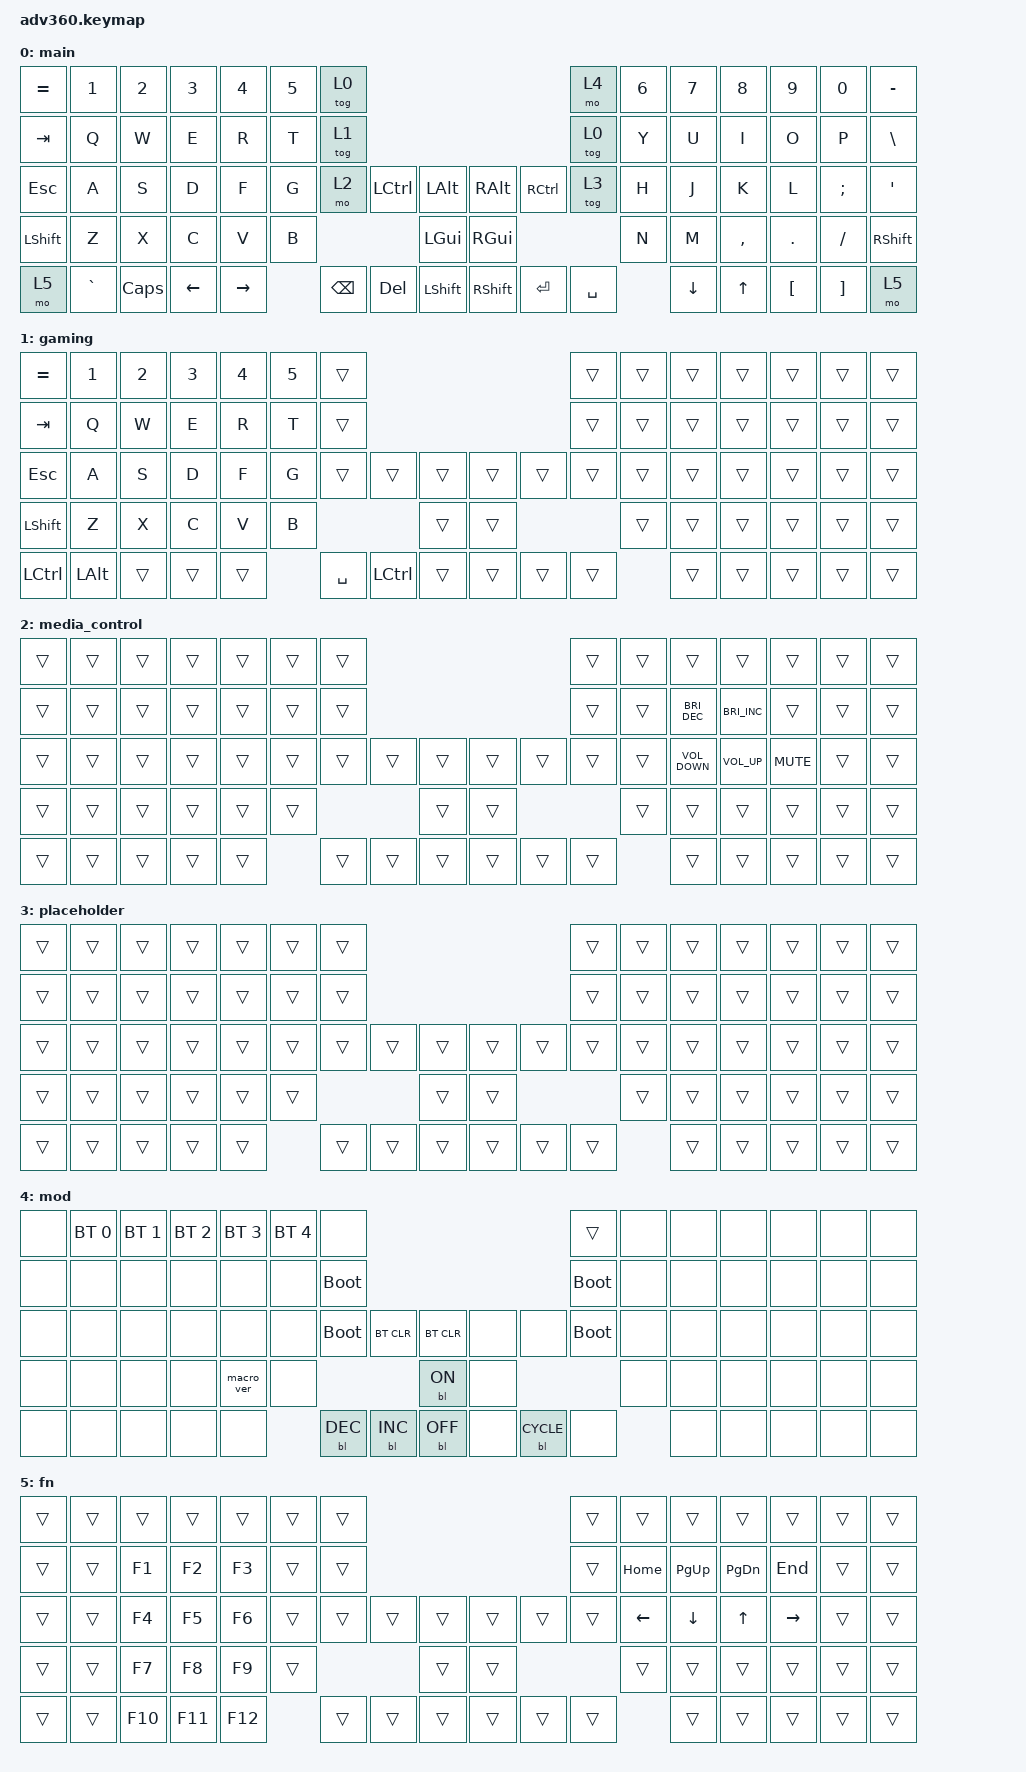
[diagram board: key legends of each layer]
#include <behaviors.dtsi>
#include <dt-bindings/zmk/backlight.h>
#include <dt-bindings/zmk/bt.h>
#include <dt-bindings/zmk/keys.h>

/ {
    behaviors {
        #include "macros.dtsi"
      #include "version.dtsi"
      #ifndef VERSION_MACRO

        macro_ver: macro_ver {
            compatible = "zmk,behavior-macro";
            label = "macro_version";
            #binding-cells = <0>;
            bindings = <&kp RET>;
        };

        #endif

        hm: homerow_mods {
            compatible = "zmk,behavior-hold-tap";
            label = "HOMEROW_MODS";
            #binding-cells = <2>;
            tapping-term-ms = <200>;
            quick_tap_ms = <175>;
            flavor = "tap-preferred";
            bindings = <&kp>, <&kp>;
        };
    };

    macros {
    };

    keymap {
        compatible = "zmk,keymap";

        main {
            bindings = <
&kp EQUAL       &kp N1     &kp N2    &kp N3    &kp N4     &kp N5  &tog 0                                                                              &mo 4      &kp N6  &kp N7    &kp N8     &kp N9    &kp N0    &kp MINUS
&kp TAB         &kp Q      &kp W     &kp E     &kp R      &kp T   &tog 1                                                                              &tog 0     &kp Y   &kp U     &kp I      &kp O     &kp P     &kp BSLH
&kp ESC         &kp A      &kp S     &kp D     &kp F      &kp G   &mo 2     &kp LEFT_CONTROL  &kp LALT            &kp RIGHT_ALT    &kp RIGHT_CONTROL  &tog 3     &kp H   &kp J     &kp K      &kp L     &kp SEMI  &kp SQT
&kp LEFT_SHIFT  &kp Z      &kp X     &kp C     &kp V      &kp B                               &kp LEFT_GUI        &kp RGUI                                       &kp N   &kp M     &kp COMMA  &kp DOT   &kp FSLH  &kp RIGHT_SHIFT
&mo 5           &kp GRAVE  &kp CAPS  &kp LEFT  &kp RIGHT          &kp BSPC  &kp DEL           &kp LEFT_SHIFT      &kp RIGHT_SHIFT  &kp ENTER          &kp SPACE          &kp DOWN  &kp UP     &kp LBKT  &kp RBKT  &mo 5
            >;
        };

        gaming {
            bindings = <
&kp EQUAL  &kp N1    &kp N2  &kp N3  &kp N4  &kp N5  &trans                                            &trans  &trans  &trans  &trans  &trans  &trans  &trans
&kp TAB    &kp Q     &kp W   &kp E   &kp R   &kp T   &trans                                            &trans  &trans  &trans  &trans  &trans  &trans  &trans
&kp ESC    &kp A     &kp S   &kp D   &kp F   &kp G   &trans     &trans     &trans      &trans  &trans  &trans  &trans  &trans  &trans  &trans  &trans  &trans
&kp LSHFT  &kp Z     &kp X   &kp C   &kp V   &kp B                         &trans      &trans                  &trans  &trans  &trans  &trans  &trans  &trans
&kp LCTRL  &kp LALT  &trans  &trans  &trans          &kp SPACE  &kp LCTRL  &trans      &trans  &trans  &trans          &trans  &trans  &trans  &trans  &trans
            >;
        };

        media_control {
            bindings = <
&trans  &trans  &trans  &trans  &trans  &trans  &trans                                      &trans  &trans  &trans                &trans                &trans      &trans  &trans
&trans  &trans  &trans  &trans  &trans  &trans  &trans                                      &trans  &trans  &kp C_BRIGHTNESS_DEC  &kp C_BRIGHTNESS_INC  &trans      &trans  &trans
&trans  &trans  &trans  &trans  &trans  &trans  &trans  &trans  &trans      &trans  &trans  &trans  &trans  &kp C_VOLUME_DOWN     &kp C_VOLUME_UP       &kp K_MUTE  &trans  &trans
&trans  &trans  &trans  &trans  &trans  &trans                  &trans      &trans                  &trans  &trans                &trans                &trans      &trans  &trans
&trans  &trans  &trans  &trans  &trans          &trans  &trans  &trans      &trans  &trans  &trans          &trans                &trans                &trans      &trans  &trans
            >;
        };

        placeholder {
            bindings = <
&trans  &trans  &trans  &trans  &trans  &trans  &trans                                      &trans  &trans  &trans  &trans  &trans  &trans  &trans
&trans  &trans  &trans  &trans  &trans  &trans  &trans                                      &trans  &trans  &trans  &trans  &trans  &trans  &trans
&trans  &trans  &trans  &trans  &trans  &trans  &trans  &trans  &trans      &trans  &trans  &trans  &trans  &trans  &trans  &trans  &trans  &trans
&trans  &trans  &trans  &trans  &trans  &trans                  &trans      &trans                  &trans  &trans  &trans  &trans  &trans  &trans
&trans  &trans  &trans  &trans  &trans          &trans  &trans  &trans      &trans  &trans  &trans          &trans  &trans  &trans  &trans  &trans
            >;
        };

        mod {
            bindings = <
&none  &bt BT_SEL 0  &bt BT_SEL 1  &bt BT_SEL 2  &bt BT_SEL 3  &bt BT_SEL 4  &none                                                         &trans       &none  &none  &none  &none  &none  &none
&none  &none         &none         &none         &none         &none         &bootloader                                                   &bootloader  &none  &none  &none  &none  &none  &none
&none  &none         &none         &none         &none         &none         &bootloader  &bt BT_CLR  &bt BT_CLR      &none  &none         &bootloader  &none  &none  &none  &none  &none  &none
&none  &none         &none         &none         &macro_ver    &none                                  &bl BL_ON       &none                             &none  &none  &none  &none  &none  &none
&none  &none         &none         &none         &none                       &bl BL_DEC   &bl BL_INC  &bl BL_OFF      &none  &bl BL_CYCLE  &none               &none  &none  &none  &none  &none
            >;
        };

        fn {
            bindings = <
&trans  &trans  &trans   &trans   &trans   &trans  &trans                                      &trans  &trans          &trans       &trans         &trans     &trans  &trans
&trans  &trans  &kp F1   &kp F2   &kp F3   &trans  &trans                                      &trans  &kp HOME        &kp PAGE_UP  &kp PAGE_DOWN  &kp END    &trans  &trans
&trans  &trans  &kp F4   &kp F5   &kp F6   &trans  &trans  &trans  &trans      &trans  &trans  &trans  &kp LEFT_ARROW  &kp DOWN     &kp UP_ARROW   &kp RIGHT  &trans  &trans
&trans  &trans  &kp F7   &kp F8   &kp F9   &trans                  &trans      &trans                  &trans          &trans       &trans         &trans     &trans  &trans
&trans  &trans  &kp F10  &kp F11  &kp F12          &trans  &trans  &trans      &trans  &trans  &trans                  &trans       &trans         &trans     &trans  &trans
            >;
        };
    };
};
